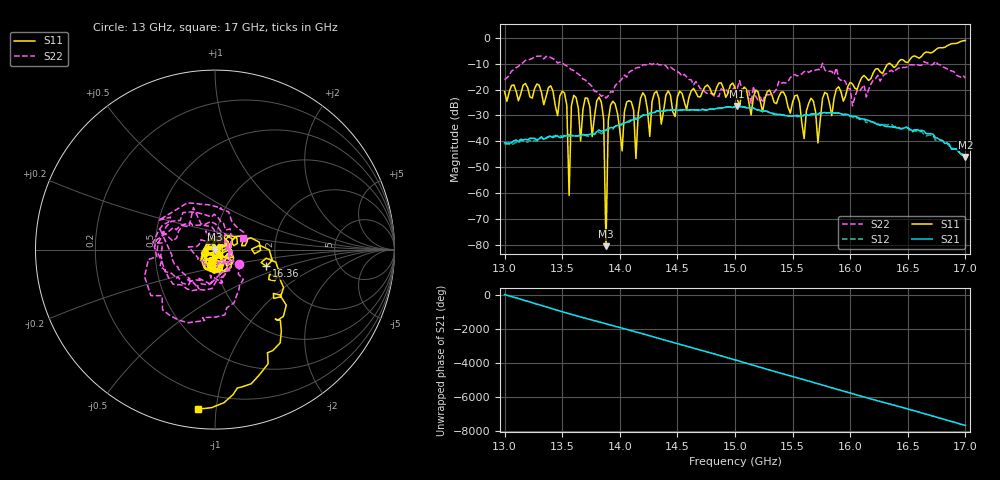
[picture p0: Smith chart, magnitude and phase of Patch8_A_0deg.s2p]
!Keysight Technologies,P9374A,MY57211810,A.19.30.04
!Date: Friday, May 09, 2025 09:12:50
!Correction: S11(Cdelta 2-Port  )
!S21(Cdelta 2-Port  )
!S12(Cdelta 2-Port  )
!S22(Cdelta 2-Port  )
!S2P File: Measurements: S11, S21, S12, S22:
# Hz S  dB  R 50
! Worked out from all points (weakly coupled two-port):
!   201 points, 13 GHz to 17 GHz, reference 50 ohm
!   highest |S21| = -26.35 dB at 15.02 GHz (marker M1); lowest = -46.1 dB at 17 GHz (marker M2)
!   lowest |S11| = -80.6 dB at 13.88 GHz (marker M3), VSWR 1.00, Z = 50 + j0.00717 ohm
!   |S11| at or under -10 dB: start of sweep to 16.33 GHz; 16.34694 GHz to 16.40997 GHz (63.03 MHz wide, 0.385 % of centre)
!   |S22| runs from -26.3 to -7.0 dB; largest |S21 - S12| = 0.0042
!   S11 on the Smith chart (normalised r, x): 13 GHz: 0.94, -0.17; 16.36 GHz: 1.76, -0.36; 17 GHz: 0.10, -0.89
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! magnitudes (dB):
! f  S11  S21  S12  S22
! 13 GHz  -20.8  -40.6  -41.3  -16.2
! 13.52 GHz  -21.3  -38.0  -37.8  -10.4
! 13.56 GHz  -61.0  -38.0  -37.4  -11.6
! 13.58 GHz  -26.2  -37.7  -37.7  -12.3
! 13.68 GHz  -27.6  -37.3  -37.8  -15.9
! 13.84 GHz  -24.9  -36.1  -37.1  -22.6
! 13.86 GHz  -31.5  -35.9  -36.4  -22.1
! 13.88 GHz  -80.6  -35.7  -35.8  -23.3
! 13.9 GHz  -31.9  -35.0  -35.2  -22.4
! 13.92 GHz  -25.9  -34.7  -35.0  -20.8
! 14.02 GHz  -43.7  -33.5  -33.2  -15.8
! 14.1 GHz  -24.7  -31.9  -31.7  -12.7
! 14.14 GHz  -46.6  -31.4  -31.0  -11.6
! 14.18 GHz  -23.3  -30.6  -30.6  -11.4
! 14.34 GHz  -23.5  -28.3  -28.3  -10.4
! 15 GHz  -19.3  -26.5  -26.5  -18.9
! 15.02 GHz  -23.8  -26.3  -26.4  -19.7
! 15.68 GHz  -24.4  -29.3  -29.5  -12.8
! 15.72 GHz  -40.6  -29.5  -29.7  -12.2
! 16.34 GHz  -9.8  -34.3  -33.4  -12.9
! 16.36 GHz  -10.4  -34.4  -33.5  -12.6
! 17 GHz  -1.0  -46.1  -45.5  -15.5
